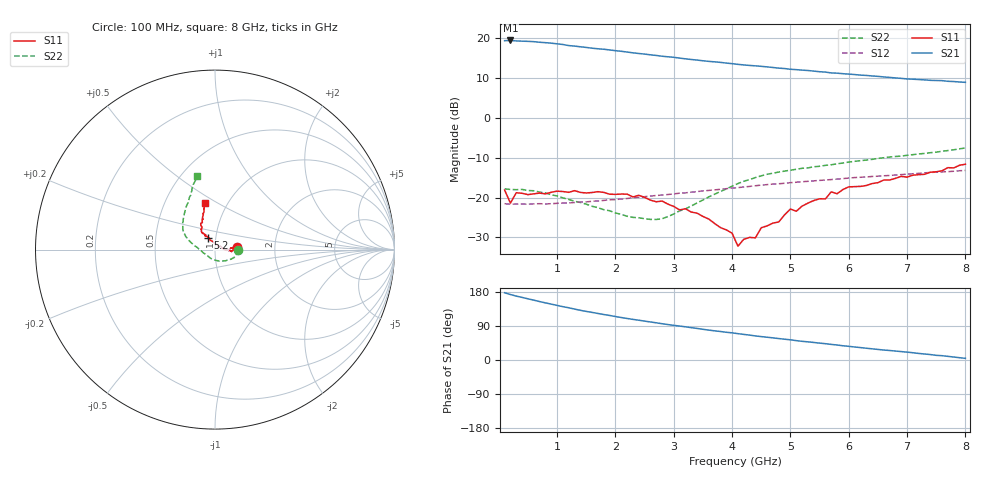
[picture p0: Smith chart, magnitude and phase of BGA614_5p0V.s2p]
!  INFINEON TECHNOLOGIES Silicon Discrete Components
!  BGA614
!  Vcc=5.0V, Rbias=62Ohm, I=40mA
!  Date:  27 Jun 2001
#  GHz  S  MA  R  50
! f  S11  S21  S12  S22
! GHz  Mag  Ang  Mag  Ang  Mag  Ang  Mag  Ang
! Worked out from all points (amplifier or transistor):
!   80 points, 100 MHz to 8 GHz, reference 50 ohm
!   highest |S21| = 19.4 dB at 200 MHz (marker M1)
!   |S21| within 3 dB of that: start of sweep to 2.247 GHz
!   unconditionally stable (mu >= 1): start of sweep to end of sweep
!   at 1.4 GHz: K = 1.06, MAG = 17.9 dB, |S12| = -21.1 dB
!   at 4.1 GHz: K = 1.09, MAG = 13.6 dB, |S12| = -17.5 dB
!   at 8 GHz: K = 1.03, MAG = 10.0 dB, |S12| = -13.2 dB
!   S11 on the Smith chart (normalised r, x): 100 MHz: 1.28, +0.03; 5.2 GHz: 0.92, +0.12; 8 GHz: 0.79, +0.44
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0.1  0.1245 5.9  9.312 177.5  0.084 -0.0  0.1288 -0.9
0.2  0.0854 4.6  9.377 172.8  0.0825 1.5  0.1266 -4.8
0.3  0.1152 7.4  9.249 168.6  0.083 2.2  0.1258 -6.0
0.5  0.1091 9.2  9.137 161.5  0.0825 4.0  0.1228 -12.7
0.8  0.1114 8.6  8.795 150.8  0.0834 6.6  0.1146 -23.1
1.1  0.1192 10.0  8.344 140.7  0.0856 9.5  0.0993 -33.6
1.5  0.1144 9.7  7.665 128.2  0.0885 12.3  0.0827 -49.0
1.8  0.1164 5.7  7.274 120.0  0.0923 13.7  0.0706 -65.1
2.1  0.1109 1.1  6.857 112.1  0.0962 15.4  0.0617 -81.7
2.3  0.1019 -0.6  6.559 107.2  0.0995 16.3  0.0565 -96.8
2.8  0.0906 -4.8  5.947 95.8  0.1078 17.5  0.0543 -141.1
3  0.0775 -5.3  5.765 91.5  0.1114 17.9  0.0623 -159.0
3.6  0.0539 -1.5  5.126 78.9  0.1232 17.6  0.1021 172.3
4  0.0358 31.2  4.796 71.7  0.1316 17.2  0.1391 163.7
4.1  0.0246 36.7  4.7 69.5  0.1334 16.8  0.1501 161.2
4.4  0.0313 92.1  4.5 63.5  0.141 15.8  0.1786 156.0
4.5  0.0419 96.7  4.439 61.8  0.1436 15.3  0.1877 153.2
5.2  0.0782 120.8  3.98 49.3  0.1583 12.6  0.2334 140.6
5.4  0.0919 125.2  3.869 46.3  0.1623 11.4  0.2439 136.6
6.1  0.1374 124.3  3.503 34.3  0.1786 7.0  0.2854 124.6
6.7  0.1662 115.0  3.224 25.1  0.1897 3.4  0.3232 116.3
8  0.2628 101.8  2.795 4.4  0.2197 -7.7  0.4199 103.4
